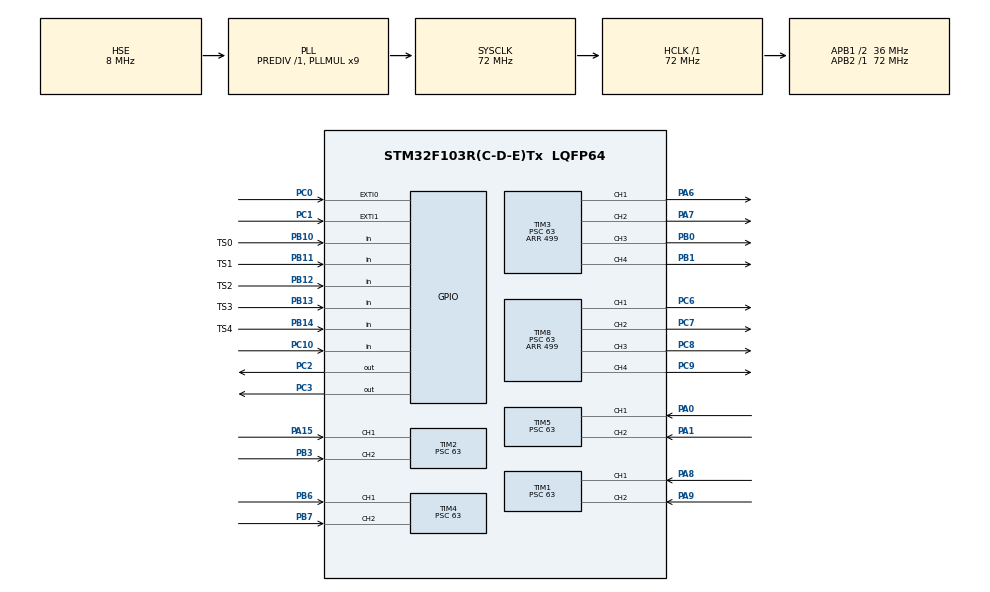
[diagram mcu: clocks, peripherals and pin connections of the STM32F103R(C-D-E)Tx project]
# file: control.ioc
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Mcu.Family=STM32F1
Mcu.Name=STM32F103R(C-D-E)Tx
Mcu.Package=LQFP64
NVIC.EXTI0_IRQn=true\:0\:0\:false\:false\:true\:true\:true\:true
NVIC.EXTI1_IRQn=true\:0\:0\:false\:false\:true\:true\:true\:true
NVIC.PriorityGroup=NVIC_PRIORITYGROUP_4
PA0-WKUP.Signal=S_TIM5_CH1
PA1.Signal=S_TIM5_CH2
PA13.Mode=Serial_Wire
PA13.Signal=SYS_JTMS-SWDIO
PA14.Mode=Serial_Wire
PA14.Signal=SYS_JTCK-SWCLK
PA15.Signal=S_TIM2_CH1_ETR
PA6.Signal=S_TIM3_CH1
PA7.Signal=S_TIM3_CH2
PA8.Signal=S_TIM1_CH1
PA9.Signal=S_TIM1_CH2
PB0.Signal=S_TIM3_CH3
PB1.Signal=S_TIM3_CH4
PB10.GPIO_Label=TS0
PB10.GPIO_Mode=GPIO_MODE_INPUT
PB10.GPIO_PuPd=GPIO_PULLDOWN
PB10.Signal=GPIO_Input
PB11.GPIO_Label=TS1
PB11.GPIO_PuPd=GPIO_PULLDOWN
PB11.Signal=GPIO_Input
PB12.GPIO_Label=TS2
PB12.GPIO_PuPd=GPIO_PULLDOWN
PB12.Signal=GPIO_Input
PB13.GPIO_Label=TS3
PB13.GPIO_PuPd=GPIO_PULLDOWN
PB13.Signal=GPIO_Input
PB14.GPIO_Label=TS4
PB14.GPIO_PuPd=GPIO_PULLDOWN
PB14.Signal=GPIO_Input
PB3.Signal=S_TIM2_CH2
PB6.Signal=S_TIM4_CH1
PB7.Signal=S_TIM4_CH2
PC0.GPIO_ModeDefaultEXTI=GPIO_MODE_IT_RISING_FALLING
PC0.GPIO_PuPd=GPIO_PULLDOWN
PC0.Signal=GPXTI0
PC1.GPIO_ModeDefaultEXTI=GPIO_MODE_IT_RISING_FALLING
PC1.GPIO_PuPd=GPIO_PULLDOWN
PC1.Signal=GPXTI1
PC10.Signal=GPIO_Input
PC14-OSC32_IN.Mode=LSE-External-Oscillator
PC14-OSC32_IN.Signal=RCC_OSC32_IN
PC15-OSC32_OUT.Mode=LSE-External-Oscillator
PC15-OSC32_OUT.Signal=RCC_OSC32_OUT
PC2.Signal=GPIO_Output
PC3.Signal=GPIO_Output
PC6.Signal=S_TIM8_CH1
PC7.Signal=S_TIM8_CH2
PC8.Signal=S_TIM8_CH3
PC9.Signal=S_TIM8_CH4
PD0-OSC_IN.Mode=HSE-External-Oscillator
PD0-OSC_IN.Signal=RCC_OSC_IN
PD1-OSC_OUT.Mode=HSE-External-Oscillator
PD1-OSC_OUT.Signal=RCC_OSC_OUT
ProjectManager.HeapSize=0x200
ProjectManager.StackSize=0x400
ProjectManager.TargetToolchain=MDK-ARM V5.32
RCC.AHBFreq_Value=72000000
RCC.APB1CLKDivider=RCC_HCLK_DIV2
RCC.APB1Freq_Value=36000000
RCC.APB1TimFreq_Value=72000000
RCC.APB2Freq_Value=72000000
RCC.APB2TimFreq_Value=72000000
RCC.HCLKFreq_Value=72000000
RCC.PLLMUL=RCC_PLL_MUL9
RCC.PLLSourceVirtual=RCC_PLLSOURCE_HSE
RCC.SYSCLKFreq_VALUE=72000000
RCC.SYSCLKSource=RCC_SYSCLKSOURCE_PLLCLK
RCC.USBFreq_Value=72000000
SH.S_TIM1_CH1.0=TIM1_CH1,Encoder_Interface
SH.S_TIM1_CH2.0=TIM1_CH2,Encoder_Interface
SH.S_TIM2_CH1_ETR.0=TIM2_CH1,Encoder_Interface
SH.S_TIM2_CH2.0=TIM2_CH2,Encoder_Interface
SH.S_TIM3_CH1.0=TIM3_CH1,PWM Generation1 CH1
SH.S_TIM3_CH2.0=TIM3_CH2,PWM Generation2 CH2
SH.S_TIM3_CH3.0=TIM3_CH3,PWM Generation3 CH3
SH.S_TIM3_CH4.0=TIM3_CH4,PWM Generation4 CH4
SH.S_TIM4_CH1.0=TIM4_CH1,Encoder_Interface
SH.S_TIM4_CH2.0=TIM4_CH2,Encoder_Interface
SH.S_TIM5_CH1.0=TIM5_CH1,Encoder_Interface
SH.S_TIM5_CH2.0=TIM5_CH2,Encoder_Interface
SH.S_TIM8_CH1.0=TIM8_CH1,PWM Generation1 CH1
SH.S_TIM8_CH2.0=TIM8_CH2,PWM Generation2 CH2
SH.S_TIM8_CH3.0=TIM8_CH3,PWM Generation3 CH3
SH.S_TIM8_CH4.0=TIM8_CH4,PWM Generation4 CH4
TIM1.AutoReloadPreload=TIM_AUTORELOAD_PRELOAD_ENABLE
TIM1.EncoderMode=TIM_ENCODERMODE_TI12
TIM1.Period=65535
TIM1.Prescaler=63
TIM2.AutoReloadPreload=TIM_AUTORELOAD_PRELOAD_ENABLE
TIM2.EncoderMode=TIM_ENCODERMODE_TI12
TIM2.Period=65535
TIM2.Prescaler=63
TIM3.Channel-PWM\ Generation1\ CH1=TIM_CHANNEL_1
TIM3.Channel-PWM\ Generation2\ CH2=TIM_CHANNEL_2
TIM3.Channel-PWM\ Generation3\ CH3=TIM_CHANNEL_3
TIM3.Channel-PWM\ Generation4\ CH4=TIM_CHANNEL_4
TIM3.Period=499
TIM3.Prescaler=63
TIM4.AutoReloadPreload=TIM_AUTORELOAD_PRELOAD_ENABLE
TIM4.EncoderMode=TIM_ENCODERMODE_TI12
TIM4.Period=65535
TIM4.Prescaler=63
TIM5.AutoReloadPreload=TIM_AUTORELOAD_PRELOAD_ENABLE
TIM5.EncoderMode=TIM_ENCODERMODE_TI12
TIM5.Period=65535
TIM5.Prescaler=63
TIM8.Channel-PWM\ Generation1\ CH1=TIM_CHANNEL_1
TIM8.Channel-PWM\ Generation2\ CH2=TIM_CHANNEL_2
TIM8.Channel-PWM\ Generation3\ CH3=TIM_CHANNEL_3
TIM8.Channel-PWM\ Generation4\ CH4=TIM_CHANNEL_4
TIM8.Period=499
TIM8.Prescaler=63
VP_TIM3_VS_ClockSourceINT.Mode=Internal
VP_TIM8_VS_ClockSourceINT.Mode=Internal
board=custom

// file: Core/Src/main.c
/* USER CODE END Header */
#include "main.h"
#include "tim.h"
#include "gpio.h"

/* USER CODE BEGIN PD */
#define TS0 HAL_GPIO_ReadPin(GPIOB,GPIO_PIN_10)
#define TS1 HAL_GPIO_ReadPin(GPIOB,GPIO_PIN_11)
#define TS2 HAL_GPIO_ReadPin(GPIOB,GPIO_PIN_12)
#define TS3 HAL_GPIO_ReadPin(GPIOB,GPIO_PIN_13)
#define TS4 HAL_GPIO_ReadPin(GPIOB,GPIO_PIN_14)

#define standard0 300
#define rotation0 300
#define supportrotation0 -275
#define start 220
#define smallrotation 150

#define standard1 340
#define rotation1 340
#define supportrotation1 -295

/* USER CODE END PD */

/* USER CODE BEGIN PV */
int16_t pwm[4];
int8_t array[5];

int8_t counter_fork=0;//岔道计数

int8_t last_is_fork=0;
int8_t flag=0;
int8_t is_open;
uint32_t time;
/* USER CODE END PV */

void SystemClock_Config(void);
/* USER CODE BEGIN PFP */
void pwmoutput(int16_t * pwm)
{
    if(pwm[0]>=0)
    {
        __HAL_TIM_SetCompare(&htim8,TIM_CHANNEL_2,0);
        __HAL_TIM_SetCompare(&htim8,TIM_CHANNEL_4,pwm[1]);
        __HAL_TIM_SetCompare(&htim8,TIM_CHANNEL_1,pwm[0]);
        __HAL_TIM_SetCompare(&htim8,TIM_CHANNEL_3,0);
    }
    else
    {
        __HAL_TIM_SetCompare(&htim8,TIM_CHANNEL_2,-pwm[0]);
        __HAL_TIM_SetCompare(&htim8,TIM_CHANNEL_4,0);
        __HAL_TIM_SetCompare(&htim8,TIM_CHANNEL_1,0);
        __HAL_TIM_SetCompare(&htim8,TIM_CHANNEL_3,-pwm[1]);
    }

    if(pwm[2]>=0)
    {
        __HAL_TIM_SetCompare(&htim3,TIM_CHANNEL_2,pwm[2]);
        __HAL_TIM_SetCompare(&htim3,TIM_CHANNEL_4,pwm[3]);
        __HAL_TIM_SetCompare(&htim3,TIM_CHANNEL_1,0);
        __HAL_TIM_SetCompare(&htim3,TIM_CHANNEL_3,0);
    }
    else
    {
        __HAL_TIM_SetCompare(&htim3,TIM_CHANNEL_2,0);
        __HAL_TIM_SetCompare(&htim3,TIM_CHANNEL_4,0);
        __HAL_TIM_SetCompare(&htim3,TIM_CHANNEL_1,-pwm[2]);
        __HAL_TIM_SetCompare(&htim3,TIM_CHANNEL_3,-pwm[3]);
    }
    return;
}
/* USER CODE END PFP */

int main(void)
{

    /* MCU Configuration--------------------------------------------------------*/

    /* Reset of all peripherals, Initializes the Flash interface and the Systick. */
    HAL_Init();

    /* Configure the system clock */
    SystemClock_Config();

    /* Initialize all configured peripherals */
    MX_GPIO_Init();
    MX_TIM1_Init();
    MX_TIM2_Init();
    MX_TIM3_Init();
    MX_TIM4_Init();
    MX_TIM5_Init();
    MX_TIM8_Init();
    /* USER CODE BEGIN 2 */
    HAL_TIM_PWM_Start(&htim3, TIM_CHANNEL_1);
    HAL_TIM_PWM_Start(&htim3, TIM_CHANNEL_2);
    HAL_TIM_PWM_Start(&htim3, TIM_CHANNEL_3);
    HAL_TIM_PWM_Start(&htim3, TIM_CHANNEL_4);
    HAL_TIM_PWM_Start(&htim8, TIM_CHANNEL_1);
    HAL_TIM_PWM_Start(&htim8, TIM_CHANNEL_2);
    HAL_TIM_PWM_Start(&htim8, TIM_CHANNEL_3);
    HAL_TIM_PWM_Start(&htim8, TIM_CHANNEL_4);

    is_open=HAL_GPIO_ReadPin(GPIOC,GPIO_PIN_10);
    if(is_open==1)
    {
        HAL_GPIO_WritePin(GPIOC,GPIO_PIN_2,1);
        HAL_GPIO_WritePin(GPIOC,GPIO_PIN_3,1);

        for(int8_t i =0; i<21; i++)
        {
            pwm[0]=start+4*i;
            pwm[1]=start+4*i;
            pwm[2]=start+4*i;
            pwm[3]=start+4*i;
            pwmoutput(pwm);
            HAL_Delay(35);
        }

        HAL_Delay(800);
    }

    else if(is_open==0)
    {

        for(int8_t i =0; i<21; i++)
        {
            pwm[0]=start+6*i;
            pwm[1]=start+6*i;
            pwm[2]=start+6*i;
            pwm[3]=start+6*i;
            pwmoutput(pwm);
            HAL_Delay(25);
        }

    }

    /* USER CODE END 2 */

    /* Infinite loop */
    /* USER CODE BEGIN WHILE */
    while (1)
    {
        array[0]=TS0;
        array[1]=TS1;
        array[2]=TS2;
        array[3]=TS3;
        array[4]=TS4;

        if(is_open==1)
        {

            if((array[0]==0&&array[1]==1&&array[2]==0)||
                    (array[1]==0&&array[2]==1&&array[3]==0)||
                    (array[2]==0&&array[3]==1&&array[4]==0)||
                    (array[0]==0&&array[1]==1&&array[2]==1&&array[3]==0)||
                    (array[1]==0&&array[2]==1&&array[3]==1&&array[4]==0)||
                    (array[0]==0&&array[1]==1&&array[2]==1&&array[3]==1&&array[4]==0)||
                    (array[0]==1&&array[1]==0&&array[2]==0&&array[3]==0&&array[4]==1)||
                    (array[0]==1&&array[1]==1&&array[2]==0&&array[3]==0&&array[4]==0)
              )//分岔点判断
            {
                time=HAL_GetTick();

                if(time>14000)
                {
                    if(last_is_fork==1)
                    {
                        counter_fork+=1;
                    }

                    if(counter_fork>5)
                    {
                        pwm[0]=standard0;
                        pwm[1]=standard0;
                        pwm[2]=standard0;
                        pwm[3]=standard0;
                        pwmoutput(pwm);
                    }
                }

                if(time>8000&&time<12000)
                {
                    if(last_is_fork==1)
                    {
                        counter_fork+=1;
                    }

                    if(counter_fork==3)
                    {
                        pwm[0]=standard0-50;
                        pwm[1]=standard0-50;
                        pwm[2]=standard0-50;
                        pwm[3]=standard0-50;
                        pwmoutput(pwm);
                        HAL_Delay(100);
                        while(!((TS4==1||TS3==1)&&(TS0==1||TS1==1)))
                        {
                            HAL_Delay(3);

                        }
                        pwm[0]=rotation0;
                        pwm[1]=rotation0;
                        pwm[2]=supportrotation0;
                        pwm[3]=supportrotation0;
                        pwmoutput(pwm);
                        HAL_Delay(300);
                        flag+=1;
                        while(!(TS0==1&&TS4==1))
                        {
                            HAL_Delay(3);
                        }
                    }
                }
                last_is_fork=1;
            }

            else if(array[0]==1&&array[1]==0&&array[3]==1&&array[4]==1)//小偏
            {
                pwm[0]=smallrotation;
                pwm[1]=smallrotation;
                pwm[2]=standard0;
                pwm[3]=standard0;
                pwmoutput(pwm);

                counter_fork=0;
                last_is_fork=0;
            }

            else if(array[0]==1&&array[1]==1&&array[3]==0&&array[4]==1)//小偏
            {
                pwm[0]=standard0;
                pwm[1]=standard0;
                pwm[2]=smallrotation;
                pwm[3]=smallrotation;
                pwmoutput(pwm);

                counter_fork=0;
                last_is_fork=0;
            }

            else if((array[0]==0&&array[2]==1&&array[3]==1&&array[4]==1))//右偏向左转
            {
                pwm[0]=supportrotation0;
                pwm[1]=supportrotation0;
                pwm[2]=rotation0;
                pwm[3]=rotation0;
                pwmoutput(pwm);

                counter_fork=0;
                last_is_fork=0;
            }

            else if((array[0]==1&&array[1]==1&&array[2]==1&&array[4]==0))//左偏向右转
            {
                pwm[0]=rotation0;
                pwm[1]=rotation0;
                pwm[2]=supportrotation0;
                pwm[3]=supportrotation0;
                pwmoutput(pwm);

                counter_fork=0;
                last_is_fork=0;
            }

            else
            {
                pwm[0]=standard0;
                pwm[1]=standard0;
                pwm[2]=standard0;
                pwm[3]=standard0;
                pwmoutput(pwm);

                counter_fork=0;
                last_is_fork=0;
            }

        }

        else if(is_open==0)
        {
            if((array[0]==0&&array[1]==1&&array[2]==0)||
                    (array[1]==0&&array[2]==1&&array[3]==0)||
                    (array[2]==0&&array[3]==1&&array[4]==0)||
                    (array[0]==0&&array[1]==1&&array[2]==1&&array[3]==0)||
                    (array[1]==0&&array[2]==1&&array[3]==1&&array[4]==0)||
                    (array[0]==0&&array[1]==1&&array[2]==1&&array[3]==1&&array[4]==0)||
                    (array[0]==1&&array[1]==0&&array[2]==0&&array[3]==0&&array[4]==1)||
                    // (array[0]==1&&array[1]==0&&array[2]==0&&array[3]==0)
                    (array[0]==0&&array[1]==0&&array[2]==0&&array[3]==1&&array[4]==1)
              )//分岔点判断
            {
                time=HAL_GetTick();

                if(time<5000)
                {
                    if(last_is_fork==1)
                    {
                        counter_fork+=1;
                    }

                    if(counter_fork==5)
                    {
                        pwm[0]=supportrotation1;
                        pwm[1]=supportrotation1;
                        pwm[2]=rotation1;
                        pwm[3]=rotation1;
                        pwmoutput(pwm);
                        HAL_Delay(250);
                        while(!(TS0==1&&TS4==1))
                        {
                            HAL_Delay(5);
                        }
                    }
                }

                if(time>14000)
                {
                    if(last_is_fork==1)
                    {
                        counter_fork+=1;
                    }

                    if(counter_fork==5)
                    {
                        pwm[0]=standard1;
                        pwm[1]=standard1;
                        pwm[2]=standard1;
                        pwm[3]=standard1;
                        pwmoutput(pwm);
                        HAL_Delay(150);

                        pwm[0]=supportrotation1;
                        pwm[1]=supportrotation1;
                        pwm[2]=rotation1;
                        pwm[3]=rotation1;
                        pwmoutput(pwm);
                        HAL_Delay(75);
                        while(!(TS2==0&&TS0==1&&TS4==1))
                        {
                            HAL_Delay(5);
                        }
                    }
                }
                last_is_fork=1;
            }

            else if((array[0]==0&&array[2]==1&&array[3]==1&&array[4]==1))//右偏向左转
            {
                pwm[0]=supportrotation1;
                pwm[1]=supportrotation1;
                pwm[2]=rotation1;
                pwm[3]=rotation1;
                pwmoutput(pwm);

                counter_fork=0;
                last_is_fork=0;
            }
            else if((array[0]==1&&array[1]==1&&array[2]==1&&array[4]==0))//左偏向右转
            {
                pwm[0]=rotation1;
                pwm[1]=rotation1;
                pwm[2]=supportrotation1;
                pwm[3]=supportrotation1;
                pwmoutput(pwm);

                counter_fork=0;
                last_is_fork=0;
            }

            else
            {
                pwm[0]=standard1;
                pwm[1]=standard1;
                pwm[2]=standard1;
                pwm[3]=standard1;
                pwmoutput(pwm);

                counter_fork=0;
                last_is_fork=0;
            }
        }

        HAL_Delay(5);
        /* USER CODE END WHILE */

    }
}

void SystemClock_Config(void)
{
    RCC_OscInitTypeDef RCC_OscInitStruct = {0};
    RCC_ClkInitTypeDef RCC_ClkInitStruct = {0};

    /** Initializes the RCC Oscillators according to the specified parameters
    * in the RCC_OscInitTypeDef structure.
    */
    RCC_OscInitStruct.OscillatorType = RCC_OSCILLATORTYPE_HSE;
    RCC_OscInitStruct.HSEState = RCC_HSE_ON;
    RCC_OscInitStruct.HSEPredivValue = RCC_HSE_PREDIV_DIV1;
    RCC_OscInitStruct.HSIState = RCC_HSI_ON;
    RCC_OscInitStruct.PLL.PLLState = RCC_PLL_ON;
    RCC_OscInitStruct.PLL.PLLSource = RCC_PLLSOURCE_HSE;
    RCC_OscInitStruct.PLL.PLLMUL = RCC_PLL_MUL9;
    if (HAL_RCC_OscConfig(&RCC_OscInitStruct) != HAL_OK)
    {
        Error_Handler();
    }

    /** Initializes the CPU, AHB and APB buses clocks
    */
    RCC_ClkInitStruct.ClockType = RCC_CLOCKTYPE_HCLK|RCC_CLOCKTYPE_SYSCLK
                                  |RCC_CLOCKTYPE_PCLK1|RCC_CLOCKTYPE_PCLK2;
    RCC_ClkInitStruct.SYSCLKSource = RCC_SYSCLKSOURCE_PLLCLK;
    RCC_ClkInitStruct.AHBCLKDivider = RCC_SYSCLK_DIV1;
    RCC_ClkInitStruct.APB1CLKDivider = RCC_HCLK_DIV2;
    RCC_ClkInitStruct.APB2CLKDivider = RCC_HCLK_DIV1;

    if (HAL_RCC_ClockConfig(&RCC_ClkInitStruct, FLASH_LATENCY_2) != HAL_OK)
    {
        Error_Handler();
    }
}

void Error_Handler(void)
{
    __disable_irq();
    while (1)
    {
    }
}
